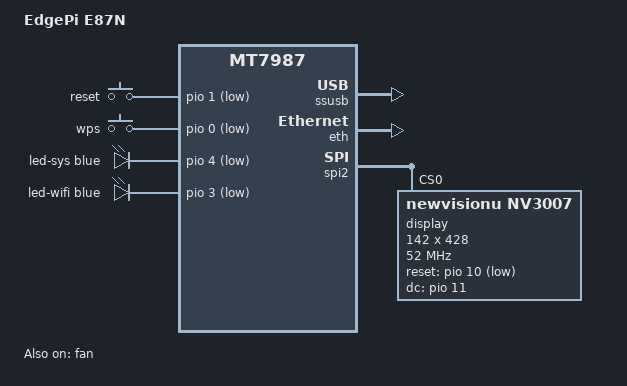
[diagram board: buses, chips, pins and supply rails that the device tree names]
// SPDX-License-Identifier: (GPL-2.0 OR MIT)
/*
 * Copyright (C) 2025 MediaTek Inc.
 * Author: Sam.Shih <sam.shih@mediatek.com>
 */

/dts-v1/;
#include "mt7987a-e87n.dtsi"
#include <dt-bindings/input/input.h>
#include "mt7987-emmc-e87n.dtsi"

/* MT7987A RFB DTS for DT overlay-based device tree */
/ {
	model = "EdgePi E87N";
	compatible = "edgepi,e87n", "mediatek,mt7987";

	chosen {
		bootargs = "console=ttyS0,115200n1 fbcon=map:off fbcon=disable root=PARTLABEL=rootfs rootwait rootfstype=squashfs,f2fs";
	};

	gpio-keys {
		compatible = "gpio-keys";

		reset {
			label = "reset";
			linux,code = <KEY_RESTART>;
			gpios = <&pio 1 GPIO_ACTIVE_LOW>;
			debounce-interval = <10>;
		};

		wps {
			label = "wps";
			linux,code = <KEY_WPS_BUTTON>;
			gpios = <&pio 0 GPIO_ACTIVE_LOW>;
			debounce-interval = <10>;
		};
	};

	gpio-leds {
		compatible = "gpio-leds";

		led-sys {
			gpios = <&pio 4 GPIO_ACTIVE_LOW>;
			color = <LED_COLOR_ID_BLUE>;
			function = LED_FUNCTION_POWER;
		};

		led-wifi {
			gpios = <&pio 3 GPIO_ACTIVE_LOW>;
			color = <LED_COLOR_ID_BLUE>;
			function = LED_FUNCTION_STATUS;
		};
	};

	/* use pwm0 as led: share with fan/pwm_rgb */
	pwm_led {
		pinctrl-names = "default";
		pinctrl-0 = <&pwm_pins>;
		status = "disabled";

		led {
			pwms = <&pwm 0 50000 0>;
			max-brightness = <255>;
			active-low;
			linux,default-trigger = "default-on";
		};
	};
};

&fan {
	pinctrl-names = "default";
	pinctrl-0 = <&pwm_fan_pins>;
	compatible = "pwm-fan";
	#cooling-cells = <2>;
	cooling-levels = <0 10 20 30 40 50 60 70 80 90 100 110 120 130 140 150 160 170 180 190 200 210 220 240 255>;
	pwms = <&pwm 1 50000 0>;
	status = "okay";
};

&ssusb {
	status = "okay";
};

&eth {
	status = "okay";
};

&spi2 {
	pinctrl-names = "default";
	pinctrl-0 = <&spi2_flash_pins>;
	status = "okay";

	display@0 {
		compatible = "newvisionu,nv3007";
		reg = <0>;

		regwidth = <8>;
		buswidth = <8>;
		height = <428>;
		width = <142>;
		fps = <100>;
		rotate = <270>;
		reset-gpios = <&pio 10 GPIO_ACTIVE_LOW>;
		dc-gpios = <&pio 11 GPIO_ACTIVE_HIGH>;
		// backlight = <&backlight>;
		spi-max-frequency = <52000000>;
		status = "okay";
	};
};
